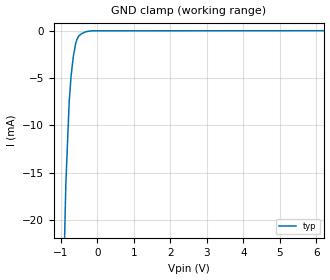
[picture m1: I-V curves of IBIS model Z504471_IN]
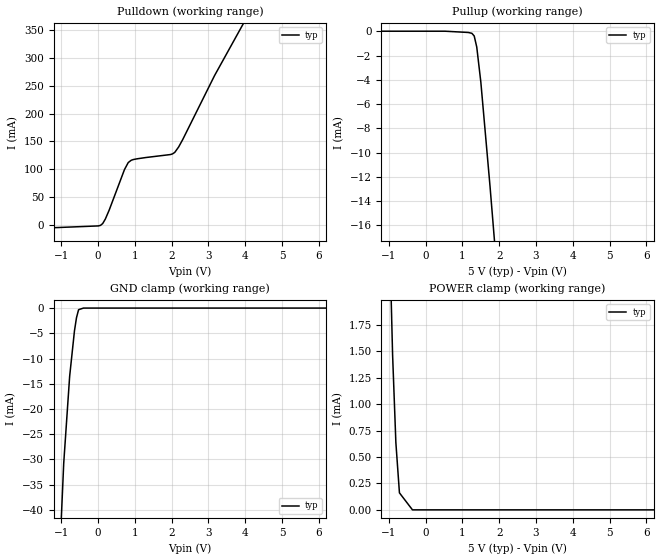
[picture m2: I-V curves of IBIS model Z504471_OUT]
| YOU ARE ONLY AUTHORIZED TO USE THIS SOFTWARE
| ACCORDING TO LICENSOR'S LICENSE RESTRICTIONS.
[IBIS Ver] 3.1
[File Name] sn54ls684j.ibs
[File Rev] 2.0
[Source] Measured and created by ICX Technology
[Date] Friday 7/14/00 9:08:15 AM
[Copyright]
| (C) COPYRIGHT 1993-2000
| MENTOR GRAPHICS CORPORATION
| ICX STANDARD LIBRARY, ICX PROJECT MODELING,
| ICX CUSTOM MODELING, ICX VENDOR MODEL
| ALL RIGHTS RESERVED.
| THE FOLLOWING ARE TRADEMARKS OR SERVICE MARKS OF
| MENTOR GRAPHICS CORPORATION:ICX (R), ICX STANDARD
| LIBRARY(R), ICX PROJECT MODELING(R), ICX CUSTOM
| MODELING(R), qualityIBIS(TM), MODELVIEWER(TM),
| AND MODELEDITOR(TM)
| ALL COPIES OF SOFTWARE, INCLUDING BUT NOT LIMITED TO
| ANY MODIFICATIONS, ENHANCEMENTS OR DERIVATIVE WORKS,
| MUST CONTAIN ALL MENTOR GRAPHICS CORPORATION'S
| NOTICES AND LEGENDS, INCLUDING THOSE EMBEDDED IN
| SOFTWARE AND THOSE AFFIXED TO SOFTWARE MEDIUM
| AND CONTAINER, AS RECEIVED FROM MENTOR GRAPHICS
| CORPORATION.
|  ZAP Model Builder 2.7
[Component] SN54LS684J
[Manufacturer] OnSemiconductor
[Package]
| variable   typ   min   max
R_pkg  .216ohms NA NA
L_pkg  5.76nH NA NA
C_pkg  2.193pF NA NA
[Pin] signal_name  model_name  R_pin  L_pin C_pin
1 _P_GT_Q Z504471_OUT .232 9.76n 3.179p
2 P0 Z504471_IN .224 7.26n 2.686p
3 Q0 Z504471_IN .216 5.26n 2.193p
4 P1 Z504471_IN .208 3.76n 1.7p
5 Q1 Z504471_IN .2 2.76n 1.207p
6 P2 Z504471_IN .2 2.76n 1.207p
7 Q2 Z504471_IN .208 3.76n 1.7p
8 P3 Z504471_IN .216 5.26n 2.193p
9 Q3 Z504471_IN .224 7.26n 2.686p
10 GND GND .232 9.76n 3.179p
11 P4 Z504471_IN .232 9.76n 3.179p
12 Q4 Z504471_IN .224 7.26n 2.686p
13 P5 Z504471_IN .216 5.26n 2.193p
14 Q5 Z504471_IN .208 3.76n 1.7p
15 P6 Z504471_IN .2 2.76n 1.207p
16 Q6 Z504471_IN .2 2.76n 1.207p
17 P7 Z504471_IN .208 3.76n 1.7p
18 Q7 Z504471_IN .216 5.26n 2.193p
19 _P_EQ_Q Z504471_OUT .224 7.26n 2.686p
20 VCC POWER .232 9.76n 3.179p
| Models and submodels in the file (2): Z504471_IN (Input), Z504471_OUT (Output)
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| (C) COPYRIGHT 1993-2000
| MENTOR GRAPHICS CORPORATION
| ICX STANDARD LIBRARY, ICX PROJECT MODELING,
| ICX CUSTOM MODELING, ICX VENDOR MODEL
| ALL RIGHTS RESERVED.
| THE FOLLOWING ARE TRADEMARKS OR SERVICE MARKS OF
| MENTOR GRAPHICS CORPORATION:ICX (R), ICX STANDARD
| LIBRARY(R), ICX PROJECT MODELING(R), ICX CUSTOM
| MODELING(R), qualityIBIS(TM), MODELVIEWER(TM),
| AND MODELEDITOR(TM)
| ALL COPIES OF SOFTWARE, INCLUDING BUT NOT LIMITED TO
| ANY MODIFICATIONS, ENHANCEMENTS OR DERIVATIVE WORKS,
| MUST CONTAIN ALL MENTOR GRAPHICS CORPORATION'S
| NOTICES AND LEGENDS, INCLUDING THOSE EMBEDDED IN
| SOFTWARE AND THOSE AFFIXED TO SOFTWARE MEDIUM
| AND CONTAINER, AS RECEIVED FROM MENTOR GRAPHICS
| CORPORATION.
| Model Application Version 1.89 2/18/99.
[Model] Z504471_IN
Model_type Input
Vinl = 800.0mV
Vinh = 2.000V
C_comp 4.000pF NA NA
| variable typ   min   max
[Voltage Range] 5.000V NA NA
[GND Clamp Reference] 0.000V NA NA
[POWER Clamp Reference] 5.000V NA NA
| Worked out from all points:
|   GND clamp passes 1 mA (typ) near -0.57 V on its own axis
[GND Clamp]
-5V       -721.7mA   NA         NA
-863.3mV  -16.24mA   NA         NA
-771.5mV  -7.542mA   NA         NA
-720.7mV  -4.851mA   NA         NA
-659.1mV  -2.755mA   NA         NA
-595.7mV  -1.4mA     NA         NA
-561.4mV  -946.2uA   NA         NA
-502.3mV  -531.5uA   NA         NA
-424.9mV  -307.8uA   NA         NA
-309.4mV  -110.8uA   NA         NA
-154.7mV  -22.99uA   NA         NA
10V       4.41uA     NA         NA
[POWER Clamp]
-5V       0A         NA         NA
10V       0A         NA         NA
| (C) COPYRIGHT 1993-2000
| MENTOR GRAPHICS CORPORATION
| ICX STANDARD LIBRARY, ICX PROJECT MODELING,
| ICX CUSTOM MODELING, ICX VENDOR MODEL
| ALL RIGHTS RESERVED.
| THE FOLLOWING ARE TRADEMARKS OR SERVICE MARKS OF
| MENTOR GRAPHICS CORPORATION:ICX (R), ICX STANDARD
| LIBRARY(R), ICX PROJECT MODELING(R), ICX CUSTOM
| MODELING(R), qualityIBIS(TM), MODELVIEWER(TM),
| AND MODELEDITOR(TM)
| ALL COPIES OF SOFTWARE, INCLUDING BUT NOT LIMITED TO
| ANY MODIFICATIONS, ENHANCEMENTS OR DERIVATIVE WORKS,
| MUST CONTAIN ALL MENTOR GRAPHICS CORPORATION'S
| NOTICES AND LEGENDS, INCLUDING THOSE EMBEDDED IN
| SOFTWARE AND THOSE AFFIXED TO SOFTWARE MEDIUM
| AND CONTAINER, AS RECEIVED FROM MENTOR GRAPHICS
| CORPORATION.
| Model Application Version 1.89 2/18/99.
[Model] Z504471_OUT
Model_type Output
Vref=5.000V
Rref=2.000kohms
Cref=15.00pF
Vmeas=1.300V
C_comp 8.000pF NA NA
| variable typ   min   max
[Voltage Range] 5.000V NA NA
[POWER Clamp Reference] 5.000V NA NA
[Pullup Reference] 5.000V NA NA
[Pulldown Reference] 0.000V NA NA
[GND Clamp Reference] 0.000V NA NA
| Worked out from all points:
|   slope of the pulldown table from 0 to 0.75 V, typ, clamps not added: 7.13 ohm
|   slope of the pullup table from 0 to 0.75 V, typ, clamps not added: 20.3 kohm
|   GND clamp passes 1 mA (typ) near -0.55 V on its own axis
|   POWER clamp passes 1 mA (typ) near -0.84 V on its own axis
[GND Clamp]
-5V       -982.8mA   NA         NA
-1.084V   -56.23mA   NA         NA
-931.2mV  -30.76mA   NA         NA
-770.2mV  -13.53mA   NA         NA
-639.3mV  -4.513mA   NA         NA
-584.3mV  -1.909mA   NA         NA
-527.3mV  -319.7uA   NA         NA
-395.5mV  0A         NA         NA
10V       0A         NA         NA
[Pulldown]
-5V       -15.2mA    NA         NA
68.4mV    -937.3uA   NA         NA
127.7mV   2.369mA    NA         NA
198.5mV   10.31mA    NA         NA
718.7mV   99.39mA    NA         NA
821.2mV   112.1mA    NA         NA
957.9mV   117.5mA    NA         NA
1.967V    126.5mA    NA         NA
2.085V    130.4mA    NA         NA
2.299V    153.2mA    NA         NA
3.165V    268.5mA    NA         NA
10V       1.086A     NA         NA
[Pullup]
-5V       10.18uA    NA         NA
527mV     10.18uA    NA         NA
1.164V    -95.6uA    NA         NA
1.26V     -165.5uA   NA         NA
1.323V    -383.5uA   NA         NA
1.392V    -1.294mA   NA         NA
1.503V    -4.188mA   NA         NA
1.753V    -12.8mA    NA         NA
10V       -319mA     NA         NA
[POWER Clamp]
-5V       67.21mA    NA         NA
-1.069V   3.882mA    NA         NA
-894mV    1.47mA     NA         NA
-805mV    637.3uA    NA         NA
-708mV    161.1uA    NA         NA
-354mV    0A         NA         NA
10V       0A         NA         NA
[Ramp]
| variable typ min max
dV/dt_r 2.003/5.592n NA NA
dV/dt_f 2.003/2.666n NA NA
R_load = 500.0Ohms
